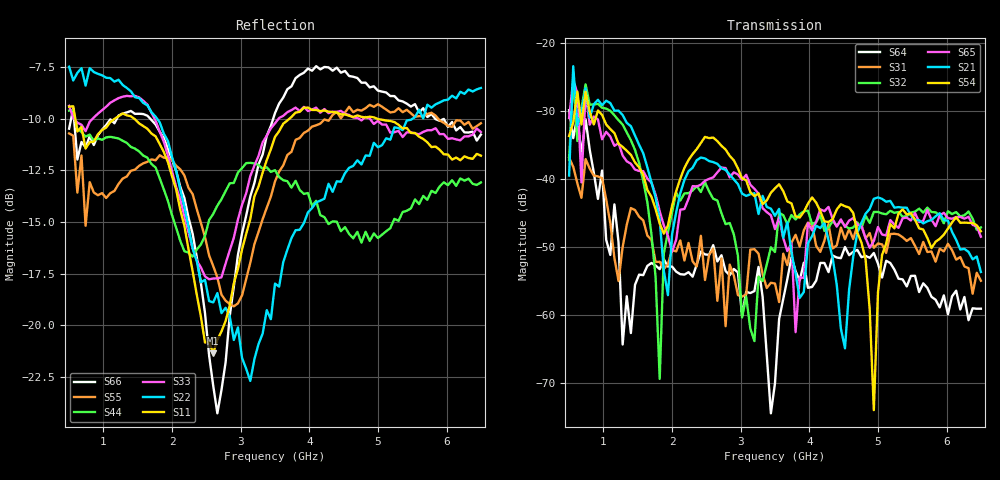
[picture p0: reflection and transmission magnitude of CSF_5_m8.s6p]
!Keysight Technologies,M9804A,MY58100912,A.14.10.03
!Date: Thursday, April 27, 2023 10:28:33
!Correction: S11(C  6-Port  )
!S12(C  6-Port  )
!S13(C  6-Port  )
!S14(C  6-Port  )
!S15(C  6-Port  )
!S16(C  6-Port  )
!S21(C  6-Port  )
!S22(C  6-Port  )
!S23(C  6-Port  )
!S24(C  6-Port  )
!S25(C  6-Port  )
!S26(C  6-Port  )
!S31(C  6-Port  )
!S32(C  6-Port  )
!S33(C  6-Port  )
!S34(C  6-Port  )
!S35(C  6-Port  )
!S36(C  6-Port  )
!S41(C  6-Port  )
!S42(C  6-Port  )
!S43(C  6-Port  )
!S44(C  6-Port  )
!S45(C  6-Port  )
!S46(C  6-Port  )
!S51(C  6-Port  )
!S52(C  6-Port  )
!S53(C  6-Port  )
!S54(C  6-Port  )
!S55(C  6-Port  )
!S56(C  6-Port  )
!S61(C  6-Port  )
!S62(C  6-Port  )
!S63(C  6-Port  )
!S64(C  6-Port  )
!S65(C  6-Port  )
!S66(C  6-Port  )
!S6P File: Measurement: :
# Hz S  RI  R 50
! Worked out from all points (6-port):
!   101 points, 500 MHz to 6.5 GHz, reference 50 ohm
!   strongest paths, dB at 500 MHz, 2 GHz, 3.5 GHz, 5 GHz, 6.5 GHz:
!     S54: -33.7, -44.0, -41.4, -56.8, -47.7
!     S21: -39.5, -48.2, -45.5, -42.8, -53.7
!     S65: -31.1, -50.7, -47.4, -47.1, -48.5
!     S32: -37.2, -45.0, -50.8, -44.9, -47.2
!     S31: -36.9, -50.5, -55.4, -49.5, -55.0
!     S64: -29.9, -52.9, -70.1, -52.5, -59.1
!   lowest |S11| = -21.3 dB at 2.6 GHz (marker M1), VSWR 1.19, Z = 42.4 + j2.17 ohm
!   |S11| at or under -10 dB: 589.3 MHz to 1.168 GHz (578.8 MHz wide, 65.9 % of centre); 1.445 GHz to 3.712 GHz (2.266 GHz wide, 87.9 % of centre); 4.984 GHz to end of sweep
